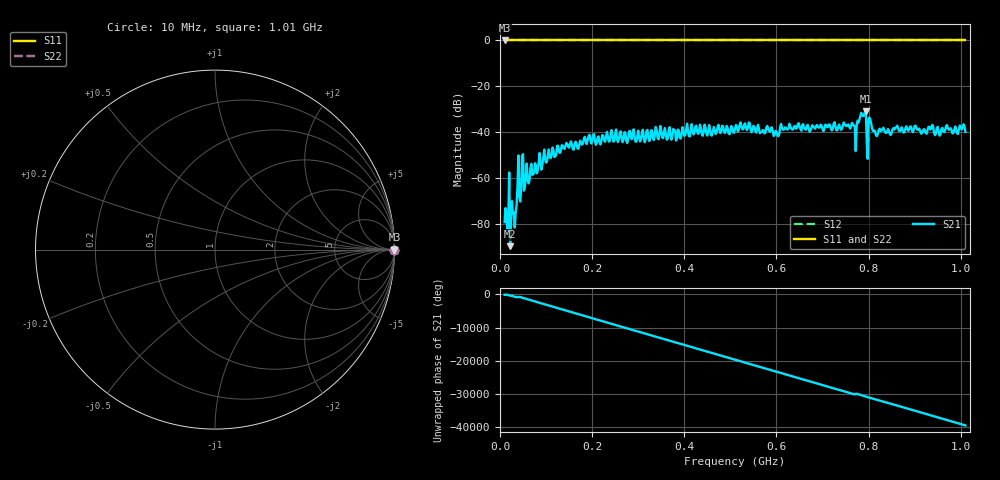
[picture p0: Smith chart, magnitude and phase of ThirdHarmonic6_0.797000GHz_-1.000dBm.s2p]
! 8/16/2025 2:35:23 AM
! C:\ANRITSUVNA\TEMP\TEMP.S2P
! CHANNEL.1
! TR.MEASUREMENT
! RAW.DATA
! RF.CORRECTION.OFF
! AVERAGING.OFF
! IF.BANDWIDTH: 5KHZ
! SWEEPTYPE:  FREQ.SWEEP(Linear)
! Reference Plane Port Info
! PORT:  PORT1  PORT2
! DISTANCE:  0  m  0  m
! TIME:  0  s  0  s
! PHASE.OFFSET:  0  deg.  0  deg.
! LOSS:  0  dB  0  dB
! REF.LOSS:  0  dB  0  dB
! REF.FREQ:  0  Hz  0  Hz
! Power Info
! POWER:  -20  dBm  -20  dBm
! EFF.POWER:  -20  dBm  -20  dBm
! SOURCE.ATTEN:  0  dB  0  dB
! TEST.ATTEN:  0  dB  0  dB
# GHZ S RI R 50.0
! FREQ.GHZ  S11RE  S11IM  S21RE  S21IM  S12RE  S12IM  S22RE  S22IM
!; PortSelection: Port_12
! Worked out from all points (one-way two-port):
!   501 points, 10 MHz to 1.01 GHz, reference 50 ohm
!   highest |S21| = -30.83 dB at 794 MHz (marker M1); lowest = -89.7 dB at 22 MHz (marker M2)
!   lowest |S11| = 0.0 dB at 10 MHz (marker M3)
!   |S11| at or under -10 dB: nowhere
!   |S22| runs from 0.0 to 0.0 dB; largest |S21 - S12| = 1
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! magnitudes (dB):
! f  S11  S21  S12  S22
! 10 MHz  0.0  -79.2  0.0  0.0
! 22 MHz  0.0  -89.7  0.0  0.0
! 32 MHz  0.0  -81.6  0.0  0.0
! 38 MHz  0.0  -63.8  0.0  0.0
! 52 MHz  0.0  -65.5  0.0  0.0
! 56 MHz  0.0  -59.8  0.0  0.0
! 110 MHz  0.0  -51.3  0.0  0.0
! 178 MHz  0.0  -45.4  0.0  0.0
! 344 MHz  0.0  -43.1  0.0  0.0
! 510 MHz  0.0  -38.6  0.0  0.0
! 600 MHz  0.0  -39.8  0.0  0.0
! 612 MHz  0.0  -38.2  0.0  0.0
! 678 MHz  0.0  -37.0  0.0  0.0
! 766 MHz  0.0  -36.6  0.0  0.0
! 770 MHz  0.0  -37.4  0.0  0.0
! 790 MHz  0.0  -32.7  0.0  0.0
! 794 MHz  0.0  -30.8  0.0  0.0
! 800 MHz  0.0  -34.1  0.0  0.0
! 804 MHz  0.0  -34.8  0.0  0.0
! 816 MHz  0.0  -41.4  0.0  0.0
! 844 MHz  0.0  -39.4  0.0  0.0
! 1.01 GHz  0.0  -39.9  0.0  0.0
